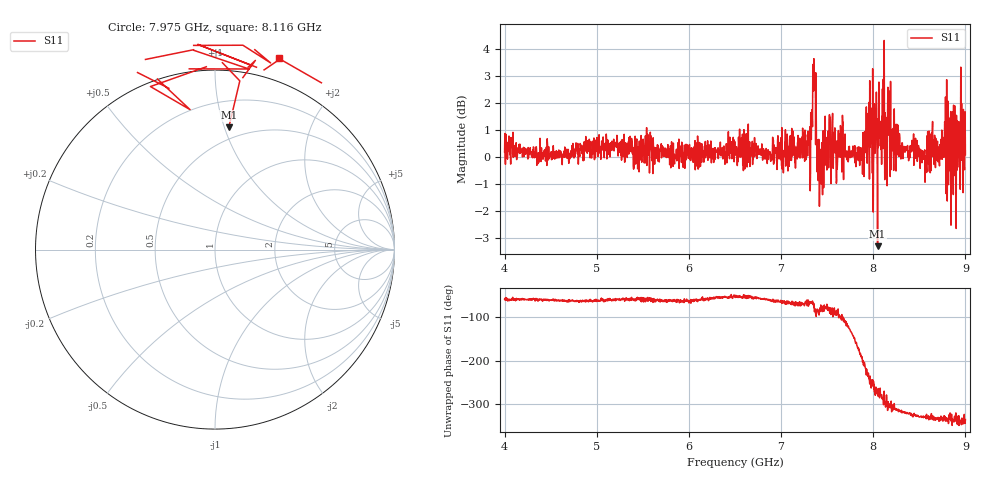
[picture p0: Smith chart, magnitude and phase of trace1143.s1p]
! Created with skrf 1.8.0 (http://scikit-rf.org).
# Hz S RI R 50.0
!freq ReS11 ImS11
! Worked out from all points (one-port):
!   1601 points, 4 GHz to 9 GHz, reference 50 ohm
!   lowest |S11| = -3.3 dB at 8.047 GHz (marker M1), VSWR 5.35, Z = 20.2 + j51.7 ohm
!   |S11| at or under -10 dB: nowhere
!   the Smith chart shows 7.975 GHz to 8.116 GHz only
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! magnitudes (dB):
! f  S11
! 4 GHz  0.2
! 4.625 GHz  -0.3
! 5.25 GHz  0.3
! 5.875 GHz  0.0
! 6.5 GHz  0.1
! 7.125 GHz  0.1
! 7.294 GHz  1.0
! 7.356 GHz  3.6
! 7.372 GHz  3.1
! 7.4 GHz  -0.2
! 7.425 GHz  0.3
! 7.512 GHz  1.0
! 7.616 GHz  0.2
! 7.647 GHz  1.1
! 7.75 GHz  0.0
! 7.878 GHz  -0.1
! 7.938 GHz  0.6
! 8.019 GHz  0.1
! 8.022 GHz  0.2
! 8.047 GHz  -3.3
! 8.162 GHz  0.9
! 8.216 GHz  1.1
! 8.375 GHz  0.3
! 8.556 GHz  0.1
! 8.788 GHz  -0.4
! 8.919 GHz  0.1
! 8.972 GHz  0.8
! 9 GHz  0.1
